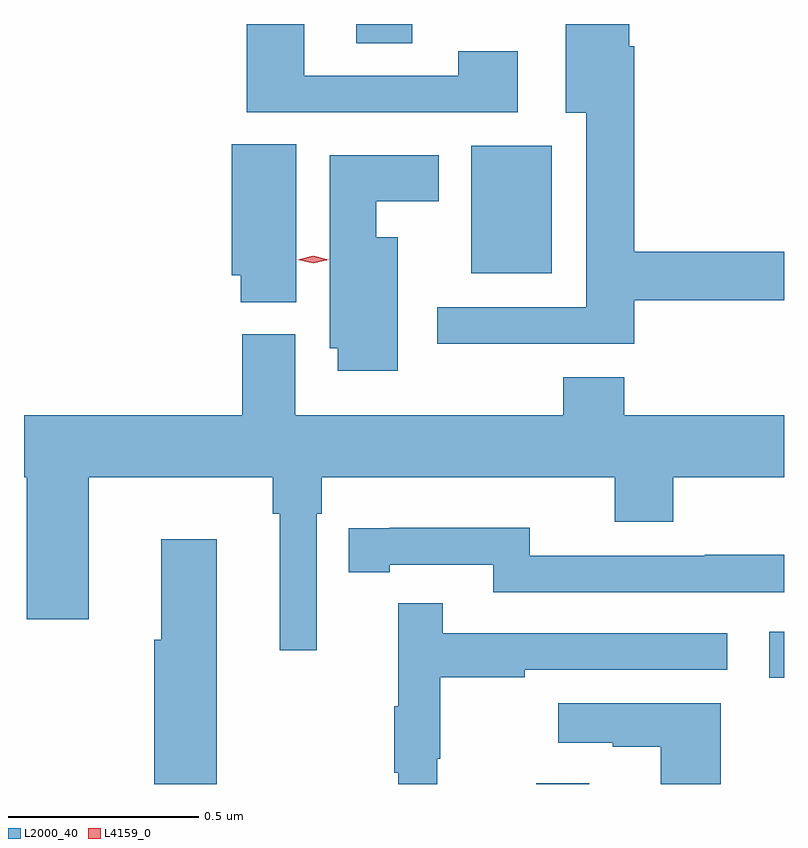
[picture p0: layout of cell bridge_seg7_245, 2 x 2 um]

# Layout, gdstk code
import gdstk
lib = gdstk.Library(unit=1e-6, precision=1e-09)
def R(c, l, rs):  # rectangles x0, y0, x1, y1
    for r in rs: c.add(gdstk.rectangle(r[:2], r[2:], *l))
def P(c, l, *ps):  # polygons
    for p in ps: c.add(gdstk.Polygon(p, *l))
L2000_40 = (2000, 40)
L4159_0 = (4159, 0)

bridge_seg7_245 = lib.new_cell('bridge_seg7_245')
R(bridge_seg7_245, L2000_40, [(346.169,1033.109,346.309,1033.111), (346.782,1033.389,346.821,1033.51), (345.998,1034.453,346.21,1034.788), (345.695,1035.058,345.843,1035.109)])
P(bridge_seg7_245, L2000_40, [(346.427,1034.382),(346.821,1034.382),(346.821,1034.51),(346.427,1034.51),(346.427,1035.05),(346.414,1035.05),(346.414,1035.109),(346.247,1035.109),(346.247,1034.876),(346.301,1034.876),(346.301,1034.364),(345.909,1034.364),(345.909,1034.267),(346.427,1034.267)],
  [(346.12,1035.037),(345.964,1035.037),(345.964,1034.973),(345.559,1034.973),(345.559,1035.109),(345.407,1035.109),(345.407,1034.877),(346.12,1034.877)],
  [(345.538,1034.792),(345.368,1034.792),(345.368,1034.448),(345.392,1034.448),(345.392,1034.377),(345.538,1034.377)],
  [(345.805,1034.548),(345.748,1034.548),(345.748,1034.642),(345.913,1034.642),(345.913,1034.764),(345.626,1034.764),(345.626,1034.256),(345.647,1034.256),(345.647,1034.196),(345.805,1034.196)],
  [(345.591,1033.82),(345.605,1033.82),(345.605,1033.916),(346.376,1033.916),(346.376,1033.799),(346.529,1033.799),(346.529,1033.916),(346.821,1033.916),(346.821,1034.08),(346.4,1034.08),(346.4,1034.179),(346.24,1034.179),(346.24,1034.08),(345.535,1034.08),(345.535,1034.292),(345.395,1034.292),(345.395,1034.08),(344.821,1034.08),(344.821,1033.916),(344.828,1033.916),(344.828,1033.542),(344.992,1033.542),(344.992,1033.916),(345.475,1033.916),(345.475,1033.82),(345.494,1033.82),(345.494,1033.461),(345.591,1033.461)],
  [(346.821,1033.712),(346.612,1033.712),(346.612,1033.71),(346.152,1033.71),(346.152,1033.783),(345.784,1033.783),(345.784,1033.782),(345.676,1033.782),(345.676,1033.666),(345.784,1033.666),(345.784,1033.686),(346.056,1033.686),(346.056,1033.614),(346.821,1033.614)],
  [(345.328,1033.753),(345.182,1033.753),(345.182,1033.489),(345.164,1033.489),(345.164,1033.109),(345.328,1033.109)],
  [(345.908,1033.176),(345.916,1033.176),(345.916,1033.39),(346.139,1033.39),(346.139,1033.41),(346.672,1033.41),(346.672,1033.506),(345.923,1033.506),(345.923,1033.585),(345.806,1033.585),(345.806,1033.313),(345.795,1033.313),(345.795,1033.139),(345.806,1033.139),(345.806,1033.109),(345.908,1033.109)],
  [(346.654,1033.321),(346.227,1033.321),(346.227,1033.217),(346.37,1033.217),(346.37,1033.207),(346.496,1033.207),(346.496,1033.109),(346.654,1033.109)])
P(bridge_seg7_245, L4159_0, [(345.582,1034.479),(345.542,1034.489),(345.542,1034.489),(345.542,1034.489),(345.582,1034.499),(345.623,1034.489),(345.623,1034.488),(345.623,1034.488)])

lib.write_gds('bridge_seg7_245.gds')
